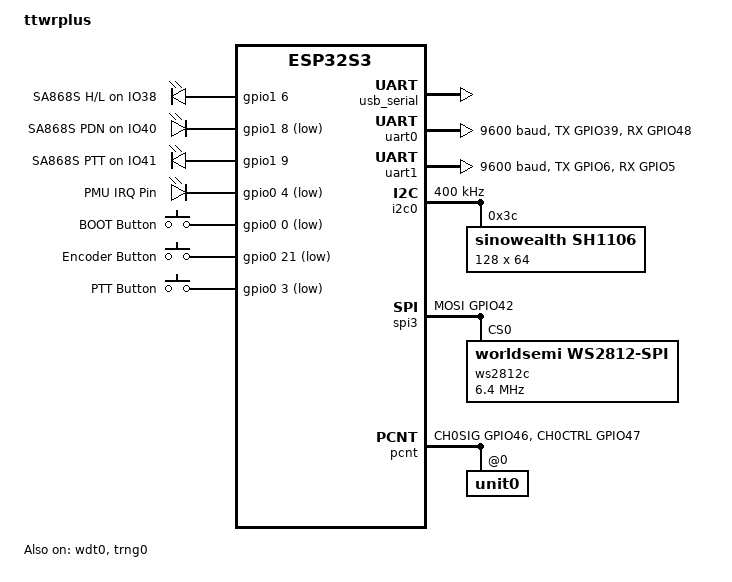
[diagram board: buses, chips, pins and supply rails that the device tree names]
/*
 * SPDX-FileCopyrightText: Copyright 2020-2026 OpenRTX Contributors
 * 
 * SPDX-License-Identifier: GPL-3.0-or-later
 */
/dts-v1/;

#include <espressif/esp32s3/esp32s3_wroom_n16r8.dtsi>
#include <zephyr/dt-bindings/pinctrl/esp-pinctrl-common.h>
#include "dt-bindings/pinctrl/esp32s3-pinctrl.h"
#include "dt-bindings/input/input-event-codes.h"
#include <zephyr/dt-bindings/pinctrl/esp32s3-gpio-sigmap.h>
#include <zephyr/dt-bindings/led/led.h>

/ {
    model = "ttwrplus";
    compatible = "espressif,esp32s3";

    aliases {
        i2c-0 = &i2c0;
        watchdog0 = &wdt0;
        radio = &uart0;
        gps = &uart1;
        radio-pwr = &radio_pwr;
        radio-pdn = &radio_pdn;
        radio-ptt = &radio_ptt;
        pmu-irq   = &pmu_irq;
        qdec0 = &pcnt;
        led0 = &ws2812c;
        flash = &flash0;
    };

    chosen {
        zephyr,sram = &sram0;
        zephyr,console = &usb_serial;
        zephyr,shell-uart = &usb_serial;
        zephyr,flash = &flash0;
        zephyr,display = &sh1106;
    };

    leds: leds {
            compatible = "gpio-leds";

            radio_pwr: radio_pwr {
                    gpios = <&gpio1 6 GPIO_ACTIVE_HIGH>;
                    label = "SA868S H/L on IO38";
            };

            radio_pdn: radio_pdn {
                    gpios = <&gpio1 8 GPIO_ACTIVE_LOW>;
                    label = "SA868S PDN on IO40";
            };

            radio_ptt: radio_ptt {
                    gpios = <&gpio1 9 GPIO_ACTIVE_HIGH>;
                    label = "SA868S PTT on IO41";
            };

            pmu_irq: pmu_irq {
                gpios = <&gpio0 4 GPIO_ACTIVE_LOW>;
                label = "PMU IRQ Pin";
            };
    };

    buttons: buttons {
        compatible = "gpio-keys";

        button_boot: button_0 {
            gpios = <&gpio0 0 GPIO_ACTIVE_LOW>;
            zephyr,code = <INPUT_KEY_VOLUMEDOWN>;
            label = "BOOT Button";
        };

        button_user: button_1 {
            gpios = <&gpio0 21 (GPIO_PULL_UP | GPIO_ACTIVE_LOW)>;
            zephyr,code = <INPUT_BTN_START>;
            label = "Encoder Button";
        };

        button_ptt: button_2 {
            gpios = <&gpio0 3 (GPIO_PULL_UP | GPIO_ACTIVE_LOW)>;
            zephyr,code = <INPUT_BTN_SELECT>;
            label = "PTT Button";
        };
  };
};

&cpu0 {
    clock-frequency = <ESP32_CLK_CPU_240M>;
};

&cpu1 {
    clock-frequency = <ESP32_CLK_CPU_240M>;
};

&usb_serial {
    status = "okay";
};

&uart0 {
    status = "okay";
    current-speed = <9600>;
    pinctrl-0 = <&uart0_default>;
    pinctrl-names = "default";
};

&uart1 {
    status = "okay";
    current-speed = <9600>;
    pinctrl-0 = <&uart1_default>;
    pinctrl-names = "default";
};

&i2c0 {
    status = "okay";
    clock-frequency = <I2C_BITRATE_FAST>;
    pinctrl-0 = <&i2c0_default>;
    pinctrl-names = "default";

    sh1106: sh1106@3c {
                compatible = "sinowealth,sh1106";
                reg = <0x3c>;

                width  = <128>;
                height = <64>;

                segment-offset  = <2>;
                page-offset     = <0>;
                display-offset  = <0>;
                multiplex-ratio = <63>;
                prechargep      = <0x22>;

                segment-remap;
                com-invdir;
        };
};

&spi3 {
    #address-cells = <1>;
    #size-cells = <0>;
    line-idle-low; /* Workaround to have low signal for latching */
    status = "okay";
    pinctrl-0 = <&spim3_default>;
    pinctrl-names = "default";
    ws2812c: ws2812@0 {
            compatible = "worldsemi,ws2812-spi";

            /* SPI */
            reg = <0x0>; /* ignored, but necessary for SPI bindings */
            spi-max-frequency = <6400000>;

            /* WS2812C */
            chain-length = <1>; /* arbitrary; change at will */
            spi-cpha;
            spi-one-frame = <0xf0>; /* 11110000: 625 ns high and 625 ns low */
            spi-zero-frame = <0xc0>; /* 11000000: 312.5 ns high and 937.5 ns low */
            color-mapping = <LED_COLOR_ID_GREEN
                             LED_COLOR_ID_RED
                             LED_COLOR_ID_BLUE>;
            reset-delay = <280>; /* > 280us by WS2812C datasheet */
    };
};

&pcnt {
  pinctrl-0 = <&pcnt_default>;
  pinctrl-names = "default";
  status = "okay";
  #address-cells = <1>;
  #size-cells = <0>;
  unit0@0 {
    reg = <0>;
    #address-cells = <1>;
    #size-cells = <0>;
    filter = <100>;
    channelA@0 {
        reg = <0>;
        sig-pos-mode = <2>;
        sig-neg-mode = <1>;
        ctrl-h-mode = <0>;
        ctrl-l-mode = <1>;
    };
  };
};

&timer0 {
    status = "disabled";
};

&timer1 {
    status = "disabled";
};

&timer2 {
    status = "disabled";
};

&timer3 {
    status = "disabled";
};

&wdt0 {
    status = "okay";
};

&trng0 {
    status = "okay";
};

&pinctrl {
    uart0_default: uart0_default {
        group1 {
            pinmux = <UART0_TX_GPIO39>;
            output-high;
        };
        group2 {
            pinmux = <UART0_RX_GPIO48>;
            bias-pull-up;
        };
    };

    uart1_default: uart1_default {
        group1 {
            pinmux = <UART1_TX_GPIO6>;
            output-high;
        };
        group2 {
            pinmux = <UART1_RX_GPIO5>;
            bias-pull-up;
        };
    };

    i2c0_default: i2c0_default {
        group1 {
            pinmux = <I2C0_SDA_GPIO8>,
                 <I2C0_SCL_GPIO9>;
            bias-pull-up;
            drive-open-drain;
            output-high;
        };
    };

    spim3_default: spim3_default {
        group2 {
            pinmux = <SPIM3_MOSI_GPIO42>;
        };
    };

    pcnt_default: pcnt_default {
        group1 {
            pinmux = <PCNT0_CH0SIG_GPIO46>,
                     <PCNT0_CH0CTRL_GPIO47>;
            bias-pull-up;
        };
    };
};

&flash0 {
    status = "okay";
    partitions {
        compatible = "fixed-partitions";
        #address-cells = <1>;
        #size-cells = <1>;

        /* Reserve 32kB for the bootloader */
        boot_partition: partition@0 {
            label = "tinyuf2";
            reg = <0x00000000 0x00008000>;
            read-only;
        };

        /* Reserve 4kB for the partition table */
        table_partition: partition@8000 {
            label = "partition-table";
            reg = <0x00008000 0x00009000>;
        };

        /* Reserve 20kB for non-volatile storage */
        nvs_partition: partition@9000 {
            label = "nvs";
            reg = <0x00009000 0x0000e000>;
        };

        /* Reserve 8kB for otadata partition */
        otadata_partition: partition@e000 {
            label = "otadata";
            reg = <0x0000e000 0x00010000>;
        };

        /* Reserve 2048kB for ota_0 partition */
        slot0_partition: partition@10000 {
            label = "ota_0";
            reg = <0x00010000 0x00210000>;
        };

        /* Reserve 2048kB for ota_1 partition */
        slot1_partition: partition@210000 {
            label = "ota_1";
            reg = <0x00210000 0x00410000>;
        };

        /* Reserve 256kB for uf2 partition */
        uf2_partition: partition@410000 {
            label = "uf2";
            reg = <0x00410000 0x00450000>;
        };

        /* Reserve 11968kB for storage partition (ffat) */
        storage_partition: partition@450000 {
            label = "ffat";
            reg = <0x00450000 0x00bb0000>;
        };
    };
};
